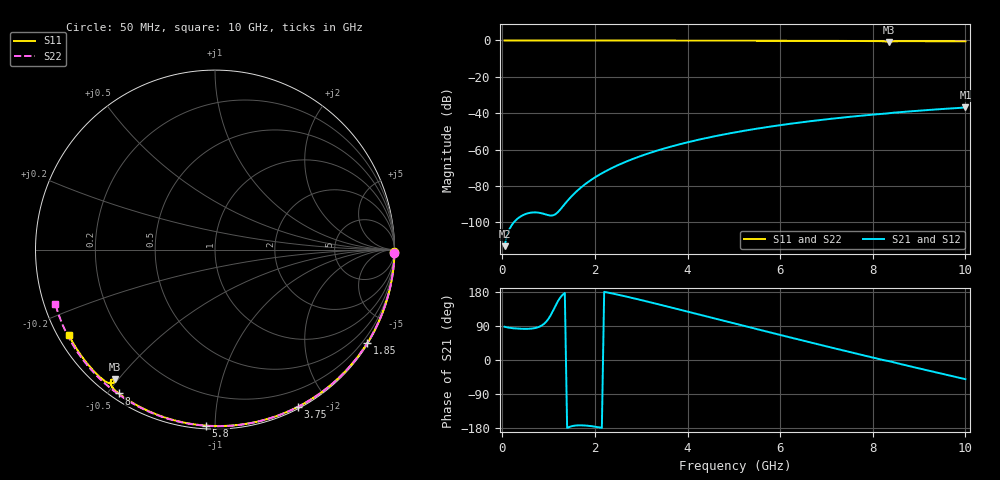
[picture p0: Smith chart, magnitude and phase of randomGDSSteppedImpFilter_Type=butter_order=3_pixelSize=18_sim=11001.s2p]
! freq	dB(S11)	phase(S11)	dB(S12)	phase(S12)
!  dB(S21)	phase(S21)	dB(S22)	phase(S22)
!S-par simulation data
#  GHz  S  DB  R 50
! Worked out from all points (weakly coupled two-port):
!   200 points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, 50 MHz to 10 GHz, reference 50 ohm
!   highest |S21| = -36.85 dB at 10 GHz (marker M1); lowest = -113.1 dB at 50 MHz (marker M2)
!   lowest |S11| = -0.8 dB at 8.35 GHz (marker M3), VSWR 22.37, Z = 2.77 - j24.5 ohm
!   |S11| at or under -10 dB: nowhere
!   |S22| runs from -0.5 to 0.0 dB; largest |S21 - S12| = 0
!   S11 on the Smith chart (normalised r, x): 50 MHz: open; 1.85 GHz: 0.03, -3.53; 3.75 GHz: 0.02, -1.65; 5.8 GHz: 0.02, -0.95; 8 GHz: 0.02, -0.53; 10 GHz: 0.03, -0.27
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0.05  -0.00 -0.9  -113.08 87.9  -113.08 87.9  -0.00 -0.9
0.85  -0.02 -14.7  -94.98 90.9  -94.98 90.9  -0.02 -15.8
1.7  -0.04 -29.1  -80.80 -172.4  -80.80 -172.4  -0.04 -31.3
1.75  -0.04 -29.9  -79.77 -172.6  -79.77 -172.6  -0.04 -32.2
1.85  -0.04 -31.6  -77.86 -173.6  -77.86 -173.6  -0.04 -34.0
2.15  -0.05 -36.6  -73.02 -179.0  -73.02 -179.0  -0.05 -39.4
2.5  -0.05 -42.4  -68.52 172.3  -68.52 172.3  -0.06 -45.5
2.9  -0.06 -48.9  -64.35 161.1  -64.35 161.1  -0.07 -52.5
3.4  -0.08 -56.8  -60.11 146.1  -60.11 146.1  -0.08 -61.0
3.75  -0.08 -62.3  -57.60 135.4  -57.60 135.4  -0.09 -66.9
4.35  -0.10 -71.6  -53.93 116.9  -53.93 116.9  -0.11 -76.8
5.05  -0.13 -82.0  -50.41 95.3  -50.41 95.3  -0.14 -87.9
5.8  -0.16 -92.9  -47.30 72.3  -47.30 72.3  -0.17 -99.5
6.7  -0.21 -105.6  -44.24 45.0  -44.24 45.0  -0.22 -113.0
7.4  -0.25 -115.3  -42.24 24.1  -42.24 24.1  -0.27 -123.3
8  -0.31 -123.8  -40.76 6.4  -40.76 6.4  -0.32 -132.0
8.25  -0.48 -128.0  -40.25 -0.8  -40.25 -0.8  -0.34 -135.6
8.35  -0.78 -127.7  -40.02 -2.9  -40.02 -2.9  -0.35 -137.1
8.45  -0.49 -127.9  -39.70 -6.0  -39.70 -6.0  -0.36 -138.5
8.55  -0.40 -129.6  -39.49 -9.1  -39.49 -9.1  -0.37 -140.0
9.15  -0.41 -138.3  -38.31 -26.5  -38.31 -26.5  -0.43 -148.7
10  -0.51 -149.9  -36.85 -50.5  -36.85 -50.5  -0.54 -161.3
